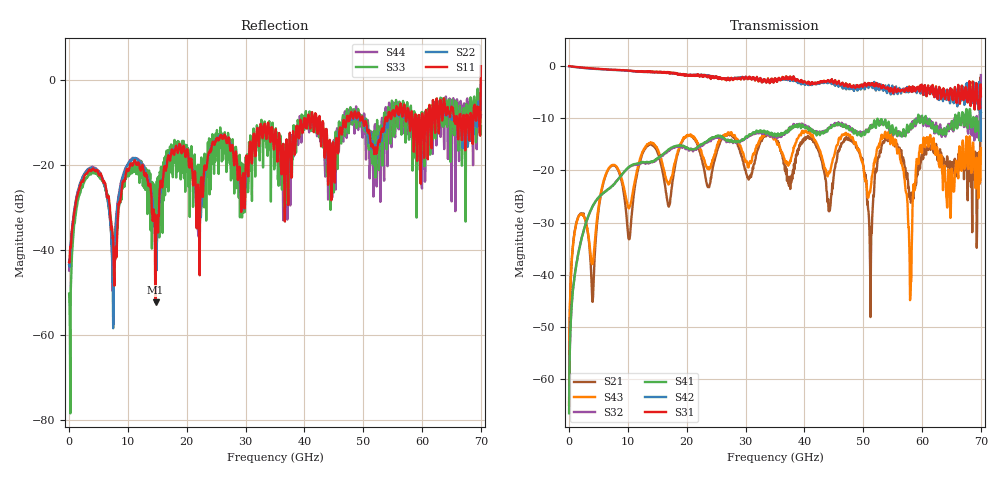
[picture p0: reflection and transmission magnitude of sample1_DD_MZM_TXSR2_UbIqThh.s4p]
! 3/17/2025 12:14:50 PM
! C:\ANRITSUVNA\DATA\2025-03-17 DD MZM A2 SUBSTRATES\S1_DD_MXM_TXSR2.S4P
! CHANNEL.1
! TR.MEASUREMENT
! CORRECTED.DATA
! RF.CORRECTION: FULL.FOUR.PORT.CAL.PORT.1.2.3.4
! AVERAGING.OFF
! IF.BANDWIDTH: 1KHZ
! SWEEPTYPE:  FREQ.SWEEP(Linear)
! Reference Plane Port Info
! PORT:  PORT1  PORT2  PORT3  PORT4
! DISTANCE:  0  m  0  m  0  m  0  m
! TIME:  0  s  0  s  0  s  0  s
! PHASE.OFFSET:  0 °  0 °  0 °  0 °
! LOSS:  0  dB  0  dB  0  dB  0  dB
! REF.LOSS:  0  dB  0  dB  0  dB  0  dB
! REF.FREQ:  0  Hz  0  Hz  0  Hz  0  Hz
! Power Info
! POWER:  -10  dBm  -10  dBm  -10  dBm  -10  dBm
! EFF.POWER:  -10  dBm  -10  dBm  -10  dBm  -10  dBm
! SOURCE.ATTEN:  0  dB  0  dB  0  dB  0  dB
! TEST.ATTEN:  0  dB  0  dB  0  dB  0  dB
# GHZ S RI R 50.0
! FREQ.GHZ  S11RE  S11IM  S12RE  S12IM  S13RE  S13IM  S14RE  S14IM
!  S21RE  S21IM  S22RE  S22IM  S23RE  S23IM  S24RE  S24IM
!  S31RE  S31IM  S32RE  S32IM  S33RE  S33IM  S34RE  S34IM
!  S41RE  S41IM  S42RE  S42IM  S43RE  S43IM  S44RE  S44IM
!; PortSelection: Port_1234
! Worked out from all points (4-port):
!   1001 points, 10 MHz to 70 GHz, reference 50 ohm
!   strongest paths, dB at 10 MHz, 17.51 GHz, 35.01 GHz, 52.5 GHz, 70 GHz:
!     S31: 0.0, -1.3, -2.6, -3.9, -5.8
!     S42: 0.0, -1.4, -2.8, -3.5, -14.3
!     S41: -66.6, -15.6, -13.2, -10.6, -8.8
!     S32: -66.3, -15.7, -13.5, -11.1, -1.7
!     S43: -64.9, -21.1, -13.9, -15.5, -15.7
!     S21: -65.0, -22.9, -13.9, -17.7, -4.3
!   lowest |S11| = -52.4 dB at 14.71 GHz (marker M1), VSWR 1.00, Z = 50.1 + j0.198 ohm
!   |S11| at or under -10 dB: start of sweep to 39.32 GHz; 43.19 GHz to 46.6 GHz (3.419 GHz wide, 7.62 % of centre); 50.49 GHz to 53.65 GHz (3.165 GHz wide, 6.08 % of centre)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
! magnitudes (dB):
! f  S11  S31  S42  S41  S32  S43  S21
! 10 MHz  -42.9  0.0  0.0  -66.6  -66.3  -64.9  -65.0
! 3.16 GHz  -21.8  -0.4  -0.4  -29.1  -29.1  -31.6  -31.6
! 14.71 GHz  -52.4  -1.1  -1.2  -17.9  -18.1  -15.3  -15.8
! 18.28 GHz  -16.1  -1.4  -1.5  -15.3  -15.3  -17.2  -17.7
! 47.81 GHz  -8.2  -3.7  -4.3  -12.2  -11.9  -13.4  -14.1
! 51.24 GHz  -14.8  -3.5  -3.3  -11.3  -11.8  -23.5  -48.1
! 70 GHz  3.3  -5.8  -14.3  -8.8  -1.7  -15.7  -4.3
